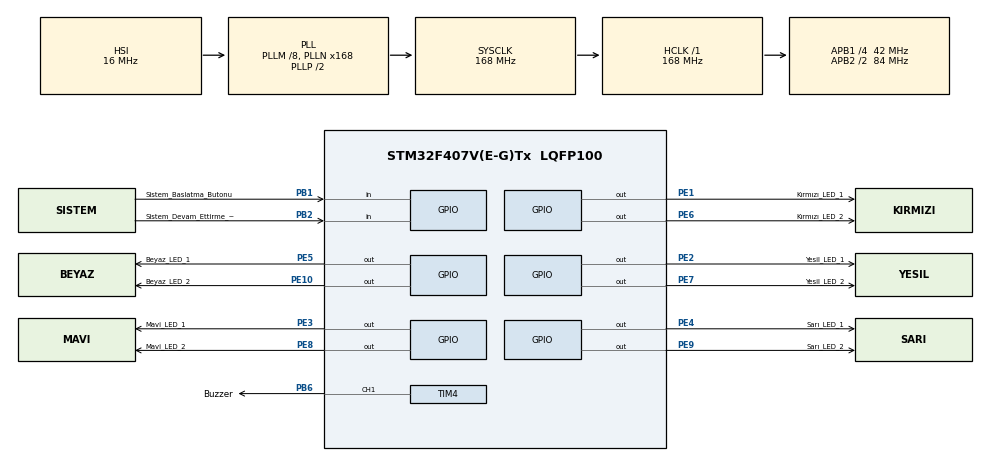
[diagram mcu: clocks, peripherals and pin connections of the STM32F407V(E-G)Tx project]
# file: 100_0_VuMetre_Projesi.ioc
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Mcu.Family=STM32F4
Mcu.Name=STM32F407V(E-G)Tx
Mcu.Package=LQFP100
NVIC.PriorityGroup=NVIC_PRIORITYGROUP_4
PB1.GPIO_Label=Sistem_Baslatma_Butonu
PB1.GPIO_PuPd=GPIO_PULLDOWN
PB1.Signal=GPIO_Input
PB2.GPIO_Label=Sistem_Devam_Ettirme_Butonu
PB2.GPIO_PuPd=GPIO_PULLDOWN
PB2.Signal=GPIO_Input
PB6.GPIO_Label=Buzzer
PB6.Signal=S_TIM4_CH1
PE1.GPIO_Label=K\u0131rm\u0131z\u0131_LED_1
PE1.Signal=GPIO_Output
PE10.GPIO_Label=Beyaz_LED_2
PE10.Signal=GPIO_Output
PE2.GPIO_Label=Yesil_LED_1
PE2.Signal=GPIO_Output
PE3.GPIO_Label=Mavi_LED_1
PE3.Signal=GPIO_Output
PE4.GPIO_Label=Sar\u0131_LED_1
PE4.Signal=GPIO_Output
PE5.GPIO_Label=Beyaz_LED_1
PE5.Signal=GPIO_Output
PE6.GPIO_Label=K\u0131rm\u0131z\u0131_LED_2
PE6.Signal=GPIO_Output
PE7.GPIO_Label=Yesil_LED_2
PE7.Signal=GPIO_Output
PE8.GPIO_Label=Mavi_LED_2
PE8.Signal=GPIO_Output
PE9.GPIO_Label=Sar\u0131_LED_2
PE9.Signal=GPIO_Output
ProjectManager.HeapSize=0x200
ProjectManager.StackSize=0x400
ProjectManager.TargetToolchain=STM32CubeIDE
RCC.48MHZClocksFreq_Value=84000000
RCC.AHBFreq_Value=168000000
RCC.APB1CLKDivider=RCC_HCLK_DIV4
RCC.APB1Freq_Value=42000000
RCC.APB1TimFreq_Value=84000000
RCC.APB2CLKDivider=RCC_HCLK_DIV2
RCC.APB2Freq_Value=84000000
RCC.APB2TimFreq_Value=168000000
RCC.CortexFreq_Value=168000000
RCC.HCLKFreq_Value=168000000
RCC.HSE_VALUE=25000000
RCC.HSI_VALUE=16000000
RCC.LSE_VALUE=32768
RCC.PLLM=8
RCC.PLLN=168
RCC.SYSCLKFreq_VALUE=168000000
RCC.SYSCLKSource=RCC_SYSCLKSOURCE_PLLCLK
RCC.VCOOutputFreq_Value=336000000
SH.S_TIM4_CH1.0=TIM4_CH1,PWM Generation1 CH1
TIM4.Channel-PWM\ Generation1\ CH1=TIM_CHANNEL_1
TIM4.Period=99
TIM4.Prescaler=239
board=custom

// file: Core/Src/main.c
/* USER CODE BEGIN Header */
/**
  ******************************************************************************
  * @file           : main.c
  * @brief          : Main program body
  ******************************************************************************
  * @attention
  *
  * Copyright (c) 2024 STMicroelectronics.
  * All rights reserved.
  *
  * This software is licensed under terms that can be found in the LICENSE file
  * in the root directory of this software component.
  * If no LICENSE file comes with this software, it is provided AS-IS.
  *
  ******************************************************************************
  */
/* USER CODE END Header */
#include "main.h"

TIM_HandleTypeDef htim4;

/* USER CODE BEGIN PV */
int count_sistemBaslatmaButon = 0 ;
int count_sistemDevamButon = 0;
/* USER CODE END PV */

void SystemClock_Config(void);
static void MX_GPIO_Init(void);
static void MX_TIM4_Init(void);

int main(void)
{

  /* MCU Configuration--------------------------------------------------------*/

  /* Reset of all peripherals, Initializes the Flash interface and the Systick. */
  HAL_Init();

  /* Configure the system clock */
  SystemClock_Config();

  /* Initialize all configured peripherals */
  MX_GPIO_Init();
  MX_TIM4_Init();

  /* Infinite loop */
  while (1)
  {

    /* USER CODE BEGIN 3 */
	  if(HAL_GPIO_ReadPin(GPIOB, GPIO_PIN_1))
	  	  	  {
	  	  		  while(HAL_GPIO_ReadPin(GPIOB, GPIO_PIN_1));
	  	  		  HAL_Delay(100);
	  	  		  count_sistemBaslatmaButon++;
	  	  		  HAL_TIM_PWM_Start(&htim4, TIM_CHANNEL_1);
              }

	  if(count_sistemBaslatmaButon == 1)
	  	  	  {

	  	  	  	if(HAL_GPIO_ReadPin(GPIOB, GPIO_PIN_2))
	  	  	  	{
	  	  	  		while(HAL_GPIO_ReadPin(GPIOB, GPIO_PIN_2));
	  	  	  		HAL_Delay(100);
	  	  	  		count_sistemDevamButon++;
	             }
	  	  	  }
	  else if (count_sistemBaslatmaButon == 2)
	  {
		  count_sistemBaslatmaButon = 0;
		  HAL_TIM_PWM_Stop(&htim4, TIM_CHANNEL_1);
		  HAL_GPIO_WritePin(GPIOE, GPIO_PIN_All, RESET);
		  count_sistemDevamButon = 0;

	  }

	  	  if(count_sistemDevamButon ==1)
	  	  {
	  	  	 __HAL_TIM_SET_COMPARE(&htim4, TIM_CHANNEL_1,9);
	  	  	 HAL_GPIO_WritePin(GPIOE, GPIO_PIN_1, SET);
	  	  }
	  	  else if(count_sistemDevamButon ==2)
	  	  {
	  	  	 __HAL_TIM_SET_COMPARE(&htim4, TIM_CHANNEL_1,19);
	  	  	 HAL_GPIO_WritePin(GPIOE, GPIO_PIN_2, SET);
	  	  }
	  	  else if(count_sistemDevamButon ==3)
	  	  {
	  	  	 __HAL_TIM_SET_COMPARE(&htim4, TIM_CHANNEL_1,29);
	  	  	 HAL_GPIO_WritePin(GPIOE, GPIO_PIN_3, SET);
	  	  }
	  	else if(count_sistemDevamButon ==4)
	  	{
	  		__HAL_TIM_SET_COMPARE(&htim4, TIM_CHANNEL_1,39);
	  		HAL_GPIO_WritePin(GPIOE, GPIO_PIN_4, SET);
	  		  	  }
	  	else if(count_sistemDevamButon ==5)
	  	{
	  	   __HAL_TIM_SET_COMPARE(&htim4, TIM_CHANNEL_1,49);
	  	   HAL_GPIO_WritePin(GPIOE, GPIO_PIN_5, SET);
	  	}
	  	else if(count_sistemDevamButon ==6)
	    {
	  	   __HAL_TIM_SET_COMPARE(&htim4, TIM_CHANNEL_1,59);
	  	   HAL_GPIO_WritePin(GPIOE, GPIO_PIN_6, SET);
	  	}
	  	else if(count_sistemDevamButon == 7)
	  	{
	  		__HAL_TIM_SET_COMPARE(&htim4, TIM_CHANNEL_1,69);
	  		HAL_GPIO_WritePin(GPIOE, GPIO_PIN_7, SET);
	  	}
	  	else if(count_sistemDevamButon ==8)
	  	{
	  		__HAL_TIM_SET_COMPARE(&htim4, TIM_CHANNEL_1,79);
	  		HAL_GPIO_WritePin(GPIOE, GPIO_PIN_8, SET);
	  	}
	  	else if(count_sistemDevamButon ==9)
	  	{
	  		__HAL_TIM_SET_COMPARE(&htim4, TIM_CHANNEL_1,89);
	  		HAL_GPIO_WritePin(GPIOE, GPIO_PIN_9, SET);
	  	}
	  	else if(count_sistemDevamButon ==10)
	  	{
	  	   __HAL_TIM_SET_COMPARE(&htim4, TIM_CHANNEL_1,99);
	  	   HAL_GPIO_WritePin(GPIOE, GPIO_PIN_10, SET);
	  	}
	  	else
	  	{
		  	__HAL_TIM_SET_COMPARE(&htim4, TIM_CHANNEL_1,0);
		  	HAL_GPIO_WritePin(GPIOE, GPIO_PIN_All, RESET);
	  		count_sistemDevamButon = 0;
	  	}

 }

  /* USER CODE END 3 */
}

void SystemClock_Config(void)
{
  RCC_OscInitTypeDef RCC_OscInitStruct = {0};
  RCC_ClkInitTypeDef RCC_ClkInitStruct = {0};

  /** Configure the main internal regulator output voltage
  */
  __HAL_RCC_PWR_CLK_ENABLE();
  __HAL_PWR_VOLTAGESCALING_CONFIG(PWR_REGULATOR_VOLTAGE_SCALE1);

  /** Initializes the RCC Oscillators according to the specified parameters
  * in the RCC_OscInitTypeDef structure.
  */
  RCC_OscInitStruct.OscillatorType = RCC_OSCILLATORTYPE_HSI;
  RCC_OscInitStruct.HSIState = RCC_HSI_ON;
  RCC_OscInitStruct.HSICalibrationValue = RCC_HSICALIBRATION_DEFAULT;
  RCC_OscInitStruct.PLL.PLLState = RCC_PLL_ON;
  RCC_OscInitStruct.PLL.PLLSource = RCC_PLLSOURCE_HSI;
  RCC_OscInitStruct.PLL.PLLM = 8;
  RCC_OscInitStruct.PLL.PLLN = 168;
  RCC_OscInitStruct.PLL.PLLP = RCC_PLLP_DIV2;
  RCC_OscInitStruct.PLL.PLLQ = 4;
  if (HAL_RCC_OscConfig(&RCC_OscInitStruct) != HAL_OK)
  {
    Error_Handler();
  }

  /** Initializes the CPU, AHB and APB buses clocks
  */
  RCC_ClkInitStruct.ClockType = RCC_CLOCKTYPE_HCLK|RCC_CLOCKTYPE_SYSCLK
                              |RCC_CLOCKTYPE_PCLK1|RCC_CLOCKTYPE_PCLK2;
  RCC_ClkInitStruct.SYSCLKSource = RCC_SYSCLKSOURCE_PLLCLK;
  RCC_ClkInitStruct.AHBCLKDivider = RCC_SYSCLK_DIV1;
  RCC_ClkInitStruct.APB1CLKDivider = RCC_HCLK_DIV4;
  RCC_ClkInitStruct.APB2CLKDivider = RCC_HCLK_DIV2;

  if (HAL_RCC_ClockConfig(&RCC_ClkInitStruct, FLASH_LATENCY_5) != HAL_OK)
  {
    Error_Handler();
  }
}

static void MX_TIM4_Init(void)
{

  TIM_MasterConfigTypeDef sMasterConfig = {0};
  TIM_OC_InitTypeDef sConfigOC = {0};

  htim4.Instance = TIM4;
  htim4.Init.Prescaler = 239;
  htim4.Init.CounterMode = TIM_COUNTERMODE_UP;
  htim4.Init.Period = 99;
  htim4.Init.ClockDivision = TIM_CLOCKDIVISION_DIV1;
  htim4.Init.AutoReloadPreload = TIM_AUTORELOAD_PRELOAD_DISABLE;
  if (HAL_TIM_PWM_Init(&htim4) != HAL_OK)
  {
    Error_Handler();
  }
  sMasterConfig.MasterOutputTrigger = TIM_TRGO_RESET;
  sMasterConfig.MasterSlaveMode = TIM_MASTERSLAVEMODE_DISABLE;
  if (HAL_TIMEx_MasterConfigSynchronization(&htim4, &sMasterConfig) != HAL_OK)
  {
    Error_Handler();
  }
  sConfigOC.OCMode = TIM_OCMODE_PWM1;
  sConfigOC.Pulse = 0;
  sConfigOC.OCPolarity = TIM_OCPOLARITY_HIGH;
  sConfigOC.OCFastMode = TIM_OCFAST_DISABLE;
  if (HAL_TIM_PWM_ConfigChannel(&htim4, &sConfigOC, TIM_CHANNEL_1) != HAL_OK)
  {
    Error_Handler();
  }
  HAL_TIM_MspPostInit(&htim4);

}

static void MX_GPIO_Init(void)
{
  GPIO_InitTypeDef GPIO_InitStruct = {0};

  /* GPIO Ports Clock Enable */
  __HAL_RCC_GPIOE_CLK_ENABLE();
  __HAL_RCC_GPIOB_CLK_ENABLE();

  /*Configure GPIO pin Output Level */
  HAL_GPIO_WritePin(GPIOE, Yesil_LED_1_Pin|Mavi_LED_1_Pin|Sar__LED_1_Pin|Beyaz_LED_1_Pin
                          |K_rm_z__LED_2_Pin|Yesil_LED_2_Pin|Mavi_LED_2_Pin|Sar__LED_2_Pin
                          |Beyaz_LED_2_Pin|K_rm_z__LED_1_Pin, GPIO_PIN_RESET);

  /*Configure GPIO pins : Yesil_LED_1_Pin Mavi_LED_1_Pin Sar__LED_1_Pin Beyaz_LED_1_Pin
                           K_rm_z__LED_2_Pin Yesil_LED_2_Pin Mavi_LED_2_Pin Sar__LED_2_Pin
                           Beyaz_LED_2_Pin K_rm_z__LED_1_Pin */
  GPIO_InitStruct.Pin = Yesil_LED_1_Pin|Mavi_LED_1_Pin|Sar__LED_1_Pin|Beyaz_LED_1_Pin
                          |K_rm_z__LED_2_Pin|Yesil_LED_2_Pin|Mavi_LED_2_Pin|Sar__LED_2_Pin
                          |Beyaz_LED_2_Pin|K_rm_z__LED_1_Pin;
  GPIO_InitStruct.Mode = GPIO_MODE_OUTPUT_PP;
  GPIO_InitStruct.Pull = GPIO_NOPULL;
  GPIO_InitStruct.Speed = GPIO_SPEED_FREQ_LOW;
  HAL_GPIO_Init(GPIOE, &GPIO_InitStruct);

  /*Configure GPIO pins : Sistem_Baslatma_Butonu_Pin Sistem_Devam_Ettirme_Butonu_Pin */
  GPIO_InitStruct.Pin = Sistem_Baslatma_Butonu_Pin|Sistem_Devam_Ettirme_Butonu_Pin;
  GPIO_InitStruct.Mode = GPIO_MODE_INPUT;
  GPIO_InitStruct.Pull = GPIO_PULLDOWN;
  HAL_GPIO_Init(GPIOB, &GPIO_InitStruct);

}

void Error_Handler(void)
{
  __disable_irq();
  while (1)
  {
  }
}
